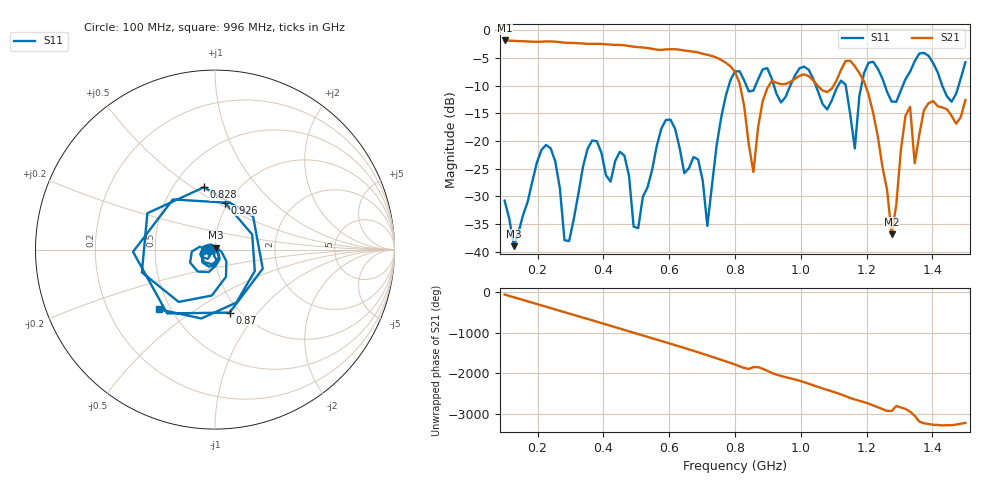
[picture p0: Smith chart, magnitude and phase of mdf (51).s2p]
! NanoVNA-App
! Date: 2025-09-25 15:38:49
! Start: 100MHz Stop: 1,5GHz Points: 101
! S-Parameter data: F S11 S21 S12 S22
# Hz S RI R 50
!  Frequency  S11_Real  S11_Imag  S21_Real  S21_Imag  S12_Real  S12_Imag  S22_Real  S22_Imag
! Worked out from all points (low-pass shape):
!   101 points, 100 MHz to 1.5 GHz, reference 50 ohm
!   highest |S21| = -1.80 dB at 100 MHz (marker M1); lowest = -36.8 dB at 1.276 GHz (marker M2)
!   |S21| within 3 dB of the highest: start of sweep to 739.2 MHz
!   lowest |S11| = -39.0 dB at 128 MHz (marker M3), VSWR 1.02, Z = 50.3 + j1.08 ohm
!   |S11| at or under -10 dB: start of sweep to 781 MHz; 1.046 GHz to 1.113 GHz (67.37 MHz wide, 6.24 % of centre); 1.256 GHz to 1.31 GHz (54.08 MHz wide, 4.22 % of centre) (the widest 3 of 7)
!   S12 and S22 are empty: the file has one direction only
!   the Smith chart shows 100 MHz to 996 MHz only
!   S11 on the Smith chart (normalised r, x): 100 MHz: 0.94, -0.01; 828 MHz: 0.70, +0.56; 870 MHz: 0.90, -0.73; 926 MHz: 0.96, +0.55; 996 MHz: 0.43, -0.36
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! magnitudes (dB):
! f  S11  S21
! 100 MHz  -30.8  -1.8
! 128 MHz  -39.0  -1.9
! 212 MHz  -21.6  -2.0
! 282 MHz  -37.9  -2.2
! 338 MHz  -24.7  -2.3
! 464 MHz  -22.6  -2.7
! 506 MHz  -35.7  -3.0
! 576 MHz  -17.8  -3.5
! 716 MHz  -35.3  -4.4
! 800 MHz  -7.4  -7.5
! 828 MHz  -9.1  -13.7
! 856 MHz  -10.9  -25.6
! 870 MHz  -8.9  -17.6
! 926 MHz  -11.4  -9.4
! 996 MHz  -6.8  -8.2
! 1.038 GHz  -8.8  -9.0
! 1.164 GHz  -21.3  -6.5
! 1.192 GHz  -7.7  -9.2
! 1.276 GHz  -12.8  -36.8
! 1.332 GHz  -7.4  -13.8
! 1.346 GHz  -5.6  -24.0
! 1.5 GHz  -5.7  -12.6
